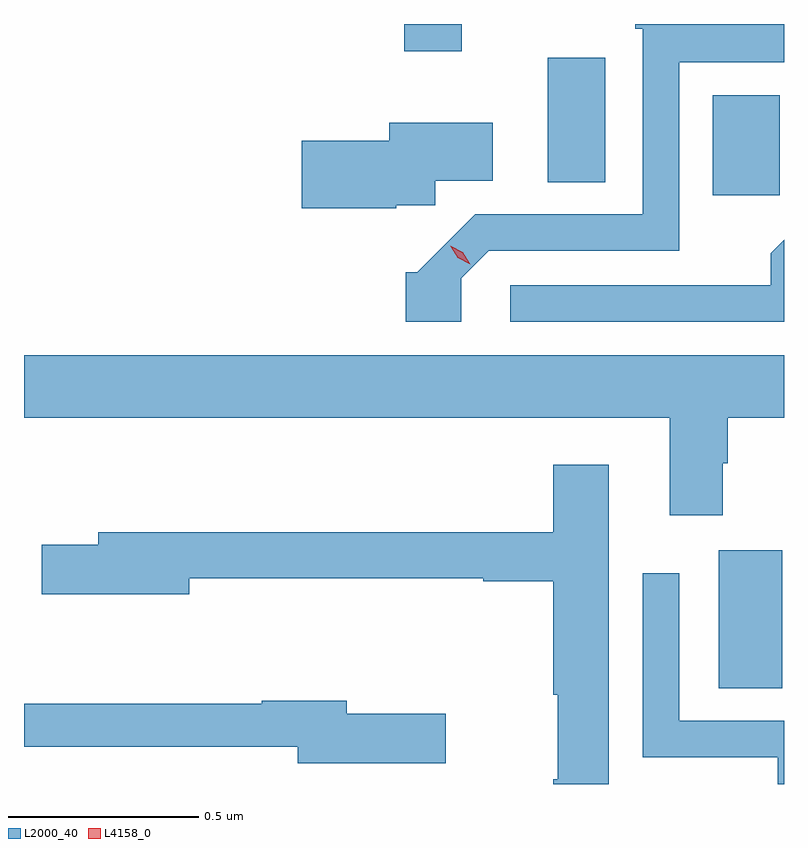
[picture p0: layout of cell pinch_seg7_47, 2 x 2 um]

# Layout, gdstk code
import gdstk
lib = gdstk.Library(unit=1e-6, precision=1e-09)
def R(c, l, rs):  # rectangles x0, y0, x1, y1
    for r in rs: c.add(gdstk.rectangle(r[:2], r[2:], *l))
def P(c, l, *ps):  # polygons
    for p in ps: c.add(gdstk.Polygon(p, *l))
L2000_40 = (2000, 40)
L4158_0 = (4158, 0)

pinch_seg7_47 = lib.new_cell('pinch_seg7_47')
R(pinch_seg7_47, L2000_40, [(1011.383,1053.184,1011.55,1053.547), (1011.368,1054.481,1011.544,1054.744), (1010.933,1054.516,1011.085,1054.843), (1010.555,1054.86,1010.707,1054.932)])
P(pinch_seg7_47, L2000_40, [(1010.706,1054.263),(1010.778,1054.335),(1011.279,1054.335),(1011.279,1054.832),(1011.555,1054.832),(1011.555,1054.932),(1011.164,1054.932),(1011.164,1054.92),(1011.183,1054.92),(1011.183,1054.431),(1010.742,1054.431),(1010.59,1054.279),(1010.559,1054.279),(1010.559,1054.149),(1010.706,1054.149)],
  [(1010.534,1054.455),(1010.637,1054.455),(1010.637,1054.52),(1010.788,1054.52),(1010.788,1054.672),(1010.516,1054.672),(1010.516,1054.625),(1010.286,1054.625),(1010.286,1054.447),(1010.534,1054.447)],
  [(1011.555,1054.364),(1011.52,1054.329),(1011.52,1054.245),(1010.835,1054.245),(1010.835,1054.149),(1011.555,1054.149)],
  [(1011.394,1053.776),(1011.407,1053.776),(1011.407,1053.896),(1011.555,1053.896),(1011.555,1054.06),(1009.555,1054.06),(1009.555,1053.896),(1011.254,1053.896),(1011.254,1053.639),(1011.394,1053.639)],
  [(1011.094,1053.772),(1010.948,1053.772),(1010.948,1053.595),(1009.751,1053.595),(1009.751,1053.561),(1009.602,1053.561),(1009.602,1053.431),(1009.99,1053.431),(1009.99,1053.474),(1010.764,1053.474),(1010.764,1053.466),(1010.948,1053.466),(1010.948,1053.167),(1010.96,1053.167),(1010.96,1052.944),(1010.948,1052.944),(1010.948,1052.932),(1011.094,1052.932)],
  [(1011.555,1053.099),(1011.279,1053.099),(1011.279,1053.487),(1011.183,1053.487),(1011.183,1053.003),(1011.539,1053.003),(1011.539,1052.932),(1011.555,1052.932)],
  [(1010.665,1053.117),(1010.404,1053.117),(1010.404,1053.151),(1010.18,1053.151),(1010.18,1053.143),(1009.555,1053.143),(1009.555,1053.03),(1010.276,1053.03),(1010.276,1052.987),(1010.665,1052.987)])
P(pinch_seg7_47, L4158_0, [(1010.729,1054.3),(1010.696,1054.317),(1010.677,1054.349),(1010.677,1054.349),(1010.677,1054.349),(1010.71,1054.332),(1010.729,1054.3),(1010.729,1054.3)])

lib.write_gds('pinch_seg7_47.gds')
